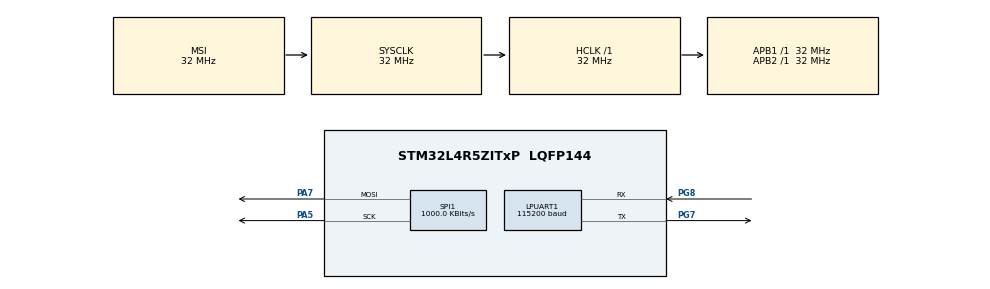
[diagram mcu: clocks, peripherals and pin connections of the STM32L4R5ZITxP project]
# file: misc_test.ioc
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LPUART1.BaudRate=115200
LPUART1.WordLength=UART_WORDLENGTH_8B
Mcu.Family=STM32L4
Mcu.Name=STM32L4R5ZITxP
Mcu.Package=LQFP144
NVIC.PriorityGroup=NVIC_PRIORITYGROUP_4
PA0.Signal=S_TIM2_CH1
PA1.Signal=ADCx_IN6
PA10.Signal=USB_OTG_FS_ID
PA13\ (JTMS/SWDIO).Signal=SYS_JTMS-SWDIO
PA14\ (JTCK/SWCLK).Signal=SYS_JTCK-SWCLK
PA3.Signal=ADCx_IN8
PA4.Signal=SPI1_NSS
PA5.Mode=TX_Only_Simplex_Unidirect_Master
PA5.Signal=SPI1_SCK
PA6.Signal=SPI1_MISO
PA7.Mode=TX_Only_Simplex_Unidirect_Master
PA7.Signal=SPI1_MOSI
PA8.Signal=USB_OTG_FS_SOF
PA9.Signal=USB_OTG_FS_VBUS
PB0.Signal=S_TIM3_CH3
PB1.Signal=ADCx_IN16
PB10.Signal=S_TIM2_CH3
PB12.Signal=SAI2_FS_A
PB13.Signal=SAI2_SCK_A
PB14.Signal=S_TIM15_CH1
PB15.Signal=SAI2_SD_A
PB2.Signal=COMP1_INP
PB3\ (JTDO/TRACESWO).Signal=SPI3_SCK
PB4\ (NJTRST).Signal=SPI3_MISO
PB5.Signal=SPI3_MOSI
PB6.Signal=COMP2_INP
PB8.Signal=I2C1_SCL
PB9.Signal=I2C1_SDA
PC0.Signal=ADCx_IN1
PC1.Signal=ADCx_IN2
PC10.Signal=SDMMC1_D2
PC11.Signal=SDMMC1_D3
PC12.Signal=SDMMC1_CK
PC13.Signal=SYS_WKUP2
PC14-OSC32_IN\ (PC14).Signal=RCC_OSC32_IN
PC15-OSC32_OUT\ (PC15).Signal=RCC_OSC32_OUT
PC2.Signal=ADCx_IN3
PC3.Signal=ADCx_IN4
PC4.Signal=ADCx_IN13
PC5.Signal=ADCx_IN14
PC6.Signal=SAI2_MCLK_A
PC7.Signal=S_TIM3_CH2
PC8.Signal=SDMMC1_D0
PC9.Signal=SDMMC1_D1
PD0.Signal=CAN1_RX
PD14.Signal=S_TIM4_CH3
PD15.Signal=S_TIM4_CH4
PD2.Signal=SDMMC1_CMD
PD3.Signal=USART2_CTS
PD4.Signal=USART2_RTS
PD5.Signal=USART2_TX
PD6.Signal=USART2_RX
PD8.Signal=USART3_TX
PD9.Signal=USART3_RX
PE0.Signal=S_TIM4_ETR
PE10.Signal=TIM1_CH2N
PE11.Signal=S_TIM1_CH2
PE12.Signal=TIM1_CH3N
PE13.Signal=S_TIM1_CH3
PE14.Signal=TIM1_BKIN2
PE15.Signal=TIM1_BKIN
PE2.Signal=SAI1_MCLK_A
PE3.Signal=SAI1_SD_B
PE7.Signal=S_TIM1_ETR
PE8.Signal=TIM1_CH1N
PE9.Signal=S_TIM1_CH1
PF0.Signal=I2C2_SDA
PF1.Signal=I2C2_SCL
PF2.Signal=I2C2_SMBA
PF7.Signal=SAI1_MCLK_B
PG7.Mode=Asynchronous
PG7.Signal=LPUART1_TX
PG8.Mode=Asynchronous
PG8.Signal=LPUART1_RX
PH0-OSC_IN\ (PH0).Signal=RCC_OSC_IN
PH1-OSC_OUT\ (PH1).Signal=RCC_OSC_OUT
ProjectManager.HeapSize=0x200
ProjectManager.StackSize=0x400
ProjectManager.TargetToolchain=STM32CubeIDE
RCC.ADCFreq_Value=128000000
RCC.AHBFreq_Value=32000000
RCC.APB1Freq_Value=32000000
RCC.APB1TimFreq_Value=32000000
RCC.APB2Freq_Value=32000000
RCC.APB2TimFreq_Value=32000000
RCC.CortexFreq_Value=32000000
RCC.HCLKFreq_Value=32000000
RCC.HSE_VALUE=8000000
RCC.HSI48_VALUE=48000000
RCC.HSI_VALUE=16000000
RCC.LSE_VALUE=32768
RCC.MSIClockRange=RCC_MSIRANGE_10
RCC.MSI_VALUE=32000000
RCC.SYSCLKFreq_VALUE=32000000
RCC.USBFreq_Value=128000000
RCC.VCOOutputFreq_Value=256000000
SH.ADCx_IN1.0=ADC1_IN1
SH.ADCx_IN13.0=ADC1_IN13
SH.ADCx_IN14.0=ADC1_IN14
SH.ADCx_IN16.0=ADC1_IN16
SH.ADCx_IN2.0=ADC1_IN2
SH.ADCx_IN3.0=ADC1_IN3
SH.ADCx_IN4.0=ADC1_IN4
SH.ADCx_IN6.0=ADC1_IN6
SH.ADCx_IN8.0=ADC1_IN8
SH.S_TIM15_CH1.0=TIM15_CH1
SH.S_TIM1_CH1.0=TIM1_CH1
SH.S_TIM1_CH2.0=TIM1_CH2
SH.S_TIM1_CH3.0=TIM1_CH3
SH.S_TIM1_ETR.0=TIM1_ETR
SH.S_TIM2_CH1.0=TIM2_CH1
SH.S_TIM2_CH3.0=TIM2_CH3
SH.S_TIM3_CH2.0=TIM3_CH2
SH.S_TIM3_CH3.0=TIM3_CH3
SH.S_TIM4_CH3.0=TIM4_CH3
SH.S_TIM4_CH4.0=TIM4_CH4
SH.S_TIM4_ETR.0=TIM4_ETR
SPI1.BaudRatePrescaler=SPI_BAUDRATEPRESCALER_32
SPI1.CalculateBaudRate=1000.0 KBits/s
SPI1.DataSize=SPI_DATASIZE_8BIT
SPI1.Direction=SPI_DIRECTION_2LINES
SPI1.Mode=SPI_MODE_MASTER
SPI1.NSSPMode=SPI_NSS_PULSE_DISABLE
SPI1.VirtualType=VM_MASTER
board=NUCLEO-L4R5ZI-P

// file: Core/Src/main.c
/* USER CODE BEGIN Header */
/**
  ******************************************************************************
  * @file           : main.c
  * @brief          : Main program body
  ******************************************************************************
  * @attention
  *
  * Copyright (c) 2025 STMicroelectronics.
  * All rights reserved.
  *
  * This software is licensed under terms that can be found in the LICENSE file
  * in the root directory of this software component.
  * If no LICENSE file comes with this software, it is provided AS-IS.
  *
  ******************************************************************************
  */
/* USER CODE END Header */
#include "main.h"

/* USER CODE BEGIN Includes */
#include "led.h"
/* USER CODE END Includes */

UART_HandleTypeDef hlpuart1;

SPI_HandleTypeDef hspi1;

void SystemClock_Config(void);
static void MX_GPIO_Init(void);
static void MX_LPUART1_UART_Init(void);
static void MX_SPI1_Init(void);

int main(void)
{

  /* MCU Configuration--------------------------------------------------------*/

  /* Reset of all peripherals, Initializes the Flash interface and the Systick. */
  HAL_Init();

  /* Configure the system clock */
  SystemClock_Config();

  /* Initialize all configured peripherals */
  MX_GPIO_Init();
  MX_LPUART1_UART_Init();
  MX_SPI1_Init();
  /* USER CODE BEGIN 2 */
  led_Init(&hspi1);
  /* USER CODE END 2 */

  /* Infinite loop */
  while (1)
  {

    /* USER CODE BEGIN 3 */
//	  DigiLed_setAllRGB(0xFF0000);
//	  DigiLed_update(1);
//	  HAL_Delay(200);
//
//	  DigiLed_setAllRGB(0x00FF00);
//	  DigiLed_update(1);
//	  HAL_Delay(200);
//
//	  DigiLed_setAllRGB(0x0000FF);
//	  DigiLed_update(1);
//	  HAL_Delay(200);
//	  led_SetIllum(&hspi1, 0x1F);
	  led_setColor(&hspi1, 0xFF, 0x00, 0x00);
	  HAL_Delay(200);
	  led_setColor(&hspi1, 0x00, 0xFF, 0x00);
	  HAL_Delay(200);
	  led_setColor(&hspi1, 0x00, 0x00, 0xFF);
	  HAL_Delay(200);
//	  led_SetIllum(&hspi1, 0x0B);
//	  HAL_Delay(200);
	  led_SetIllum(&hspi1, 0x01);
	  HAL_Delay(200);
  }
  /* USER CODE END 3 */
}

void SystemClock_Config(void)
{
  RCC_OscInitTypeDef RCC_OscInitStruct = {0};
  RCC_ClkInitTypeDef RCC_ClkInitStruct = {0};

  /** Configure the main internal regulator output voltage
  */
  if (HAL_PWREx_ControlVoltageScaling(PWR_REGULATOR_VOLTAGE_SCALE1) != HAL_OK)
  {
    Error_Handler();
  }

  /** Initializes the RCC Oscillators according to the specified parameters
  * in the RCC_OscInitTypeDef structure.
  */
  RCC_OscInitStruct.OscillatorType = RCC_OSCILLATORTYPE_MSI;
  RCC_OscInitStruct.MSIState = RCC_MSI_ON;
  RCC_OscInitStruct.MSICalibrationValue = 0;
  RCC_OscInitStruct.MSIClockRange = RCC_MSIRANGE_10;
  RCC_OscInitStruct.PLL.PLLState = RCC_PLL_NONE;
  if (HAL_RCC_OscConfig(&RCC_OscInitStruct) != HAL_OK)
  {
    Error_Handler();
  }

  /** Initializes the CPU, AHB and APB buses clocks
  */
  RCC_ClkInitStruct.ClockType = RCC_CLOCKTYPE_HCLK|RCC_CLOCKTYPE_SYSCLK
                              |RCC_CLOCKTYPE_PCLK1|RCC_CLOCKTYPE_PCLK2;
  RCC_ClkInitStruct.SYSCLKSource = RCC_SYSCLKSOURCE_MSI;
  RCC_ClkInitStruct.AHBCLKDivider = RCC_SYSCLK_DIV1;
  RCC_ClkInitStruct.APB1CLKDivider = RCC_HCLK_DIV1;
  RCC_ClkInitStruct.APB2CLKDivider = RCC_HCLK_DIV1;

  if (HAL_RCC_ClockConfig(&RCC_ClkInitStruct, FLASH_LATENCY_1) != HAL_OK)
  {
    Error_Handler();
  }
}

static void MX_LPUART1_UART_Init(void)
{

  hlpuart1.Instance = LPUART1;
  hlpuart1.Init.BaudRate = 115200;
  hlpuart1.Init.WordLength = UART_WORDLENGTH_8B;
  hlpuart1.Init.StopBits = UART_STOPBITS_1;
  hlpuart1.Init.Parity = UART_PARITY_NONE;
  hlpuart1.Init.Mode = UART_MODE_TX_RX;
  hlpuart1.Init.HwFlowCtl = UART_HWCONTROL_NONE;
  hlpuart1.Init.OneBitSampling = UART_ONE_BIT_SAMPLE_DISABLE;
  hlpuart1.Init.ClockPrescaler = UART_PRESCALER_DIV1;
  hlpuart1.AdvancedInit.AdvFeatureInit = UART_ADVFEATURE_NO_INIT;
  hlpuart1.FifoMode = UART_FIFOMODE_DISABLE;
  if (HAL_UART_Init(&hlpuart1) != HAL_OK)
  {
    Error_Handler();
  }
  if (HAL_UARTEx_SetTxFifoThreshold(&hlpuart1, UART_TXFIFO_THRESHOLD_1_8) != HAL_OK)
  {
    Error_Handler();
  }
  if (HAL_UARTEx_SetRxFifoThreshold(&hlpuart1, UART_RXFIFO_THRESHOLD_1_8) != HAL_OK)
  {
    Error_Handler();
  }
  if (HAL_UARTEx_DisableFifoMode(&hlpuart1) != HAL_OK)
  {
    Error_Handler();
  }

}

static void MX_SPI1_Init(void)
{

  /* SPI1 parameter configuration*/
  hspi1.Instance = SPI1;
  hspi1.Init.Mode = SPI_MODE_MASTER;
  hspi1.Init.Direction = SPI_DIRECTION_2LINES;
  hspi1.Init.DataSize = SPI_DATASIZE_8BIT;
  hspi1.Init.CLKPolarity = SPI_POLARITY_LOW;
  hspi1.Init.CLKPhase = SPI_PHASE_1EDGE;
  hspi1.Init.NSS = SPI_NSS_SOFT;
  hspi1.Init.BaudRatePrescaler = SPI_BAUDRATEPRESCALER_32;
  hspi1.Init.FirstBit = SPI_FIRSTBIT_MSB;
  hspi1.Init.TIMode = SPI_TIMODE_DISABLE;
  hspi1.Init.CRCCalculation = SPI_CRCCALCULATION_DISABLE;
  hspi1.Init.CRCPolynomial = 7;
  hspi1.Init.CRCLength = SPI_CRC_LENGTH_DATASIZE;
  hspi1.Init.NSSPMode = SPI_NSS_PULSE_DISABLE;
  if (HAL_SPI_Init(&hspi1) != HAL_OK)
  {
    Error_Handler();
  }

}

static void MX_GPIO_Init(void)
{
  GPIO_InitTypeDef GPIO_InitStruct = {0};

  /* GPIO Ports Clock Enable */
  __HAL_RCC_GPIOE_CLK_ENABLE();
  __HAL_RCC_GPIOC_CLK_ENABLE();
  __HAL_RCC_GPIOF_CLK_ENABLE();
  __HAL_RCC_GPIOH_CLK_ENABLE();
  __HAL_RCC_GPIOA_CLK_ENABLE();
  __HAL_RCC_GPIOB_CLK_ENABLE();
  __HAL_RCC_GPIOD_CLK_ENABLE();
  __HAL_RCC_GPIOG_CLK_ENABLE();
  HAL_PWREx_EnableVddIO2();

  /*Configure GPIO pins : PE2 PE3 */
  GPIO_InitStruct.Pin = GPIO_PIN_2|GPIO_PIN_3;
  GPIO_InitStruct.Mode = GPIO_MODE_AF_PP;
  GPIO_InitStruct.Pull = GPIO_NOPULL;
  GPIO_InitStruct.Speed = GPIO_SPEED_FREQ_LOW;
  GPIO_InitStruct.Alternate = GPIO_AF13_SAI1;
  HAL_GPIO_Init(GPIOE, &GPIO_InitStruct);

  /*Configure GPIO pins : PF0 PF1 PF2 */
  GPIO_InitStruct.Pin = GPIO_PIN_0|GPIO_PIN_1|GPIO_PIN_2;
  GPIO_InitStruct.Mode = GPIO_MODE_AF_OD;
  GPIO_InitStruct.Pull = GPIO_NOPULL;
  GPIO_InitStruct.Speed = GPIO_SPEED_FREQ_VERY_HIGH;
  GPIO_InitStruct.Alternate = GPIO_AF4_I2C2;
  HAL_GPIO_Init(GPIOF, &GPIO_InitStruct);

  /*Configure GPIO pin : PF7 */
  GPIO_InitStruct.Pin = GPIO_PIN_7;
  GPIO_InitStruct.Mode = GPIO_MODE_AF_PP;
  GPIO_InitStruct.Pull = GPIO_NOPULL;
  GPIO_InitStruct.Speed = GPIO_SPEED_FREQ_LOW;
  GPIO_InitStruct.Alternate = GPIO_AF13_SAI1;
  HAL_GPIO_Init(GPIOF, &GPIO_InitStruct);

  /*Configure GPIO pins : PC0 PC1 PC2 PC3
                           PC4 PC5 */
  GPIO_InitStruct.Pin = GPIO_PIN_0|GPIO_PIN_1|GPIO_PIN_2|GPIO_PIN_3
                          |GPIO_PIN_4|GPIO_PIN_5;
  GPIO_InitStruct.Mode = GPIO_MODE_ANALOG_ADC_CONTROL;
  GPIO_InitStruct.Pull = GPIO_NOPULL;
  HAL_GPIO_Init(GPIOC, &GPIO_InitStruct);

  /*Configure GPIO pin : PA0 */
  GPIO_InitStruct.Pin = GPIO_PIN_0;
  GPIO_InitStruct.Mode = GPIO_MODE_AF_PP;
  GPIO_InitStruct.Pull = GPIO_NOPULL;
  GPIO_InitStruct.Speed = GPIO_SPEED_FREQ_LOW;
  GPIO_InitStruct.Alternate = GPIO_AF1_TIM2;
  HAL_GPIO_Init(GPIOA, &GPIO_InitStruct);

  /*Configure GPIO pins : PA1 PA3 */
  GPIO_InitStruct.Pin = GPIO_PIN_1|GPIO_PIN_3;
  GPIO_InitStruct.Mode = GPIO_MODE_ANALOG_ADC_CONTROL;
  GPIO_InitStruct.Pull = GPIO_NOPULL;
  HAL_GPIO_Init(GPIOA, &GPIO_InitStruct);

  /*Configure GPIO pin : PB0 */
  GPIO_InitStruct.Pin = GPIO_PIN_0;
  GPIO_InitStruct.Mode = GPIO_MODE_AF_PP;
  GPIO_InitStruct.Pull = GPIO_NOPULL;
  GPIO_InitStruct.Speed = GPIO_SPEED_FREQ_LOW;
  GPIO_InitStruct.Alternate = GPIO_AF2_TIM3;
  HAL_GPIO_Init(GPIOB, &GPIO_InitStruct);

  /*Configure GPIO pin : PB1 */
  GPIO_InitStruct.Pin = GPIO_PIN_1;
  GPIO_InitStruct.Mode = GPIO_MODE_ANALOG_ADC_CONTROL;
  GPIO_InitStruct.Pull = GPIO_NOPULL;
  HAL_GPIO_Init(GPIOB, &GPIO_InitStruct);

  /*Configure GPIO pins : PB2 PB6 */
  GPIO_InitStruct.Pin = GPIO_PIN_2|GPIO_PIN_6;
  GPIO_InitStruct.Mode = GPIO_MODE_ANALOG;
  GPIO_InitStruct.Pull = GPIO_NOPULL;
  HAL_GPIO_Init(GPIOB, &GPIO_InitStruct);

  /*Configure GPIO pins : PE7 PE8 PE9 PE10
                           PE11 PE12 PE13 */
  GPIO_InitStruct.Pin = GPIO_PIN_7|GPIO_PIN_8|GPIO_PIN_9|GPIO_PIN_10
                          |GPIO_PIN_11|GPIO_PIN_12|GPIO_PIN_13;
  GPIO_InitStruct.Mode = GPIO_MODE_AF_PP;
  GPIO_InitStruct.Pull = GPIO_NOPULL;
  GPIO_InitStruct.Speed = GPIO_SPEED_FREQ_LOW;
  GPIO_InitStruct.Alternate = GPIO_AF1_TIM1;
  HAL_GPIO_Init(GPIOE, &GPIO_InitStruct);

  /*Configure GPIO pins : PE14 PE15 */
  GPIO_InitStruct.Pin = GPIO_PIN_14|GPIO_PIN_15;
  GPIO_InitStruct.Mode = GPIO_MODE_AF_PP;
  GPIO_InitStruct.Pull = GPIO_NOPULL;
  GPIO_InitStruct.Speed = GPIO_SPEED_FREQ_LOW;
  GPIO_InitStruct.Alternate = GPIO_AF3_TIM1_COMP1;
  HAL_GPIO_Init(GPIOE, &GPIO_InitStruct);

  /*Configure GPIO pin : PB10 */
  GPIO_InitStruct.Pin = GPIO_PIN_10;
  GPIO_InitStruct.Mode = GPIO_MODE_AF_PP;
  GPIO_InitStruct.Pull = GPIO_NOPULL;
  GPIO_InitStruct.Speed = GPIO_SPEED_FREQ_LOW;
  GPIO_InitStruct.Alternate = GPIO_AF1_TIM2;
  HAL_GPIO_Init(GPIOB, &GPIO_InitStruct);

  /*Configure GPIO pins : PB12 PB13 PB15 */
  GPIO_InitStruct.Pin = GPIO_PIN_12|GPIO_PIN_13|GPIO_PIN_15;
  GPIO_InitStruct.Mode = GPIO_MODE_AF_PP;
  GPIO_InitStruct.Pull = GPIO_NOPULL;
  GPIO_InitStruct.Speed = GPIO_SPEED_FREQ_LOW;
  GPIO_InitStruct.Alternate = GPIO_AF13_SAI2;
  HAL_GPIO_Init(GPIOB, &GPIO_InitStruct);

  /*Configure GPIO pin : PB14 */
  GPIO_InitStruct.Pin = GPIO_PIN_14;
  GPIO_InitStruct.Mode = GPIO_MODE_AF_PP;
  GPIO_InitStruct.Pull = GPIO_NOPULL;
  GPIO_InitStruct.Speed = GPIO_SPEED_FREQ_LOW;
  GPIO_InitStruct.Alternate = GPIO_AF14_TIM15;
  HAL_GPIO_Init(GPIOB, &GPIO_InitStruct);

  /*Configure GPIO pins : PD8 PD9 */
  GPIO_InitStruct.Pin = GPIO_PIN_8|GPIO_PIN_9;
  GPIO_InitStruct.Mode = GPIO_MODE_AF_PP;
  GPIO_InitStruct.Pull = GPIO_NOPULL;
  GPIO_InitStruct.Speed = GPIO_SPEED_FREQ_VERY_HIGH;
  GPIO_InitStruct.Alternate = GPIO_AF7_USART3;
  HAL_GPIO_Init(GPIOD, &GPIO_InitStruct);

  /*Configure GPIO pins : PD14 PD15 */
  GPIO_InitStruct.Pin = GPIO_PIN_14|GPIO_PIN_15;
  GPIO_InitStruct.Mode = GPIO_MODE_AF_PP;
  GPIO_InitStruct.Pull = GPIO_NOPULL;
  GPIO_InitStruct.Speed = GPIO_SPEED_FREQ_LOW;
  GPIO_InitStruct.Alternate = GPIO_AF2_TIM4;
  HAL_GPIO_Init(GPIOD, &GPIO_InitStruct);

  /*Configure GPIO pin : PC6 */
  GPIO_InitStruct.Pin = GPIO_PIN_6;
  GPIO_InitStruct.Mode = GPIO_MODE_AF_PP;
  GPIO_InitStruct.Pull = GPIO_NOPULL;
  GPIO_InitStruct.Speed = GPIO_SPEED_FREQ_LOW;
  GPIO_InitStruct.Alternate = GPIO_AF13_SAI2;
  HAL_GPIO_Init(GPIOC, &GPIO_InitStruct);

  /*Configure GPIO pin : PC7 */
  GPIO_InitStruct.Pin = GPIO_PIN_7;
  GPIO_InitStruct.Mode = GPIO_MODE_AF_PP;
  GPIO_InitStruct.Pull = GPIO_NOPULL;
  GPIO_InitStruct.Speed = GPIO_SPEED_FREQ_LOW;
  GPIO_InitStruct.Alternate = GPIO_AF2_TIM3;
  HAL_GPIO_Init(GPIOC, &GPIO_InitStruct);

  /*Configure GPIO pins : PC8 PC9 PC10 PC11
                           PC12 */
  GPIO_InitStruct.Pin = GPIO_PIN_8|GPIO_PIN_9|GPIO_PIN_10|GPIO_PIN_11
                          |GPIO_PIN_12;
  GPIO_InitStruct.Mode = GPIO_MODE_AF_PP;
  GPIO_InitStruct.Pull = GPIO_NOPULL;
  GPIO_InitStruct.Speed = GPIO_SPEED_FREQ_VERY_HIGH;
  GPIO_InitStruct.Alternate = GPIO_AF12_SDMMC1;
  HAL_GPIO_Init(GPIOC, &GPIO_InitStruct);

  /*Configure GPIO pins : PA8 PA10 */
  GPIO_InitStruct.Pin = GPIO_PIN_8|GPIO_PIN_10;
  GPIO_InitStruct.Mode = GPIO_MODE_AF_PP;
  GPIO_InitStruct.Pull = GPIO_NOPULL;
  GPIO_InitStruct.Speed = GPIO_SPEED_FREQ_VERY_HIGH;
  GPIO_InitStruct.Alternate = GPIO_AF10_OTG_FS;
  HAL_GPIO_Init(GPIOA, &GPIO_InitStruct);

  /*Configure GPIO pin : PA9 */
  GPIO_InitStruct.Pin = GPIO_PIN_9;
  GPIO_InitStruct.Mode = GPIO_MODE_INPUT;
  GPIO_InitStruct.Pull = GPIO_NOPULL;
  HAL_GPIO_Init(GPIOA, &GPIO_InitStruct);

  /*Configure GPIO pin : PD0 */
  GPIO_InitStruct.Pin = GPIO_PIN_0;
  GPIO_InitStruct.Mode = GPIO_MODE_AF_PP;
  GPIO_InitStruct.Pull = GPIO_NOPULL;
  GPIO_InitStruct.Speed = GPIO_SPEED_FREQ_VERY_HIGH;
  GPIO_InitStruct.Alternate = GPIO_AF9_CAN1;
  HAL_GPIO_Init(GPIOD, &GPIO_InitStruct);

  /*Configure GPIO pin : PD2 */
  GPIO_InitStruct.Pin = GPIO_PIN_2;
  GPIO_InitStruct.Mode = GPIO_MODE_AF_PP;
  GPIO_InitStruct.Pull = GPIO_NOPULL;
  GPIO_InitStruct.Speed = GPIO_SPEED_FREQ_VERY_HIGH;
  GPIO_InitStruct.Alternate = GPIO_AF12_SDMMC1;
  HAL_GPIO_Init(GPIOD, &GPIO_InitStruct);

  /*Configure GPIO pins : PD3 PD4 PD5 PD6 */
  GPIO_InitStruct.Pin = GPIO_PIN_3|GPIO_PIN_4|GPIO_PIN_5|GPIO_PIN_6;
  GPIO_InitStruct.Mode = GPIO_MODE_AF_PP;
  GPIO_InitStruct.Pull = GPIO_NOPULL;
  GPIO_InitStruct.Speed = GPIO_SPEED_FREQ_VERY_HIGH;
  GPIO_InitStruct.Alternate = GPIO_AF7_USART2;
  HAL_GPIO_Init(GPIOD, &GPIO_InitStruct);

  /*Configure GPIO pins : PB3 PB4 PB5 */
  GPIO_InitStruct.Pin = GPIO_PIN_3|GPIO_PIN_4|GPIO_PIN_5;
  GPIO_InitStruct.Mode = GPIO_MODE_AF_PP;
  GPIO_InitStruct.Pull = GPIO_NOPULL;
  GPIO_InitStruct.Speed = GPIO_SPEED_FREQ_VERY_HIGH;
  GPIO_InitStruct.Alternate = GPIO_AF6_SPI3;
  HAL_GPIO_Init(GPIOB, &GPIO_InitStruct);

  /*Configure GPIO pins : PB8 PB9 */
  GPIO_InitStruct.Pin = GPIO_PIN_8|GPIO_PIN_9;
  GPIO_InitStruct.Mode = GPIO_MODE_AF_OD;
  GPIO_InitStruct.Pull = GPIO_NOPULL;
  GPIO_InitStruct.Speed = GPIO_SPEED_FREQ_VERY_HIGH;
  GPIO_InitStruct.Alternate = GPIO_AF4_I2C1;
  HAL_GPIO_Init(GPIOB, &GPIO_InitStruct);

  /*Configure GPIO pin : PE0 */
  GPIO_InitStruct.Pin = GPIO_PIN_0;
  GPIO_InitStruct.Mode = GPIO_MODE_AF_PP;
  GPIO_InitStruct.Pull = GPIO_NOPULL;
  GPIO_InitStruct.Speed = GPIO_SPEED_FREQ_LOW;
  GPIO_InitStruct.Alternate = GPIO_AF2_TIM4;
  HAL_GPIO_Init(GPIOE, &GPIO_InitStruct);

}

/* USER CODE BEGIN 4 */
#ifdef __GNUC__
#define PUTCHAR_PROTOTYPE int __io_putchar(int ch)
#else
  #define PUTCHAR_PROTOTYPE int fputc(int ch, FILE *f)
#endif /* __GNUC__ */
PUTCHAR_PROTOTYPE
{
  HAL_UART_Transmit(&hlpuart1, (uint8_t *)&ch, 1, 0xFFFF);
  return ch;
}
/* USER CODE END 4 */

void Error_Handler(void)
{
  __disable_irq();
  while (1)
  {
  }
}
